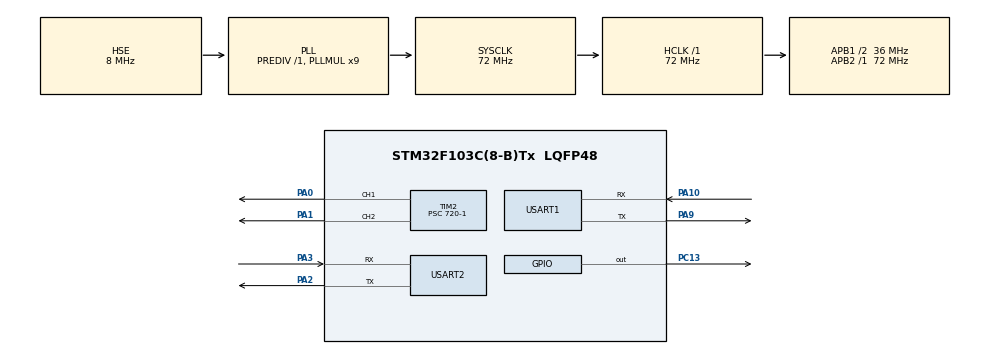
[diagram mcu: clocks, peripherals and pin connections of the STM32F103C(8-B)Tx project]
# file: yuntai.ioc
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Mcu.Family=STM32F1
Mcu.Name=STM32F103C(8-B)Tx
Mcu.Package=LQFP48
NVIC.PriorityGroup=NVIC_PRIORITYGROUP_4
NVIC.TIM4_IRQn=true\:0\:0\:false\:false\:true\:true\:true\:true
NVIC.USART1_IRQn=true\:1\:0\:true\:false\:true\:true\:true\:true
NVIC.USART2_IRQn=true\:0\:0\:false\:false\:true\:true\:true\:true
PA0-WKUP.Signal=S_TIM2_CH1_ETR
PA1.Signal=S_TIM2_CH2
PA10.Mode=Asynchronous
PA10.Signal=USART1_RX
PA13.Mode=Serial_Wire
PA13.Signal=SYS_JTMS-SWDIO
PA14.Mode=Serial_Wire
PA14.Signal=SYS_JTCK-SWCLK
PA2.Mode=Asynchronous
PA2.Signal=USART2_TX
PA3.Mode=Asynchronous
PA3.Signal=USART2_RX
PA9.Mode=Asynchronous
PA9.Signal=USART1_TX
PC13-TAMPER-RTC.Signal=GPIO_Output
PD0-OSC_IN.Mode=HSE-External-Oscillator
PD0-OSC_IN.Signal=RCC_OSC_IN
PD1-OSC_OUT.Mode=HSE-External-Oscillator
PD1-OSC_OUT.Signal=RCC_OSC_OUT
ProjectManager.HeapSize=0x200
ProjectManager.StackSize=0x400
ProjectManager.TargetToolchain=STM32CubeIDE
RCC.AHBFreq_Value=72000000
RCC.APB1CLKDivider=RCC_HCLK_DIV2
RCC.APB1Freq_Value=36000000
RCC.APB1TimFreq_Value=72000000
RCC.APB2Freq_Value=72000000
RCC.APB2TimFreq_Value=72000000
RCC.HCLKFreq_Value=72000000
RCC.PLLMUL=RCC_PLL_MUL9
RCC.PLLSourceVirtual=RCC_PLLSOURCE_HSE
RCC.SYSCLKFreq_VALUE=72000000
RCC.SYSCLKSource=RCC_SYSCLKSOURCE_PLLCLK
RCC.USBFreq_Value=72000000
SH.S_TIM2_CH1_ETR.0=TIM2_CH1,PWM Generation1 CH1
SH.S_TIM2_CH2.0=TIM2_CH2,PWM Generation2 CH2
TIM2.AutoReloadPreload=TIM_AUTORELOAD_PRELOAD_ENABLE
TIM2.Channel-PWM\ Generation1\ CH1=TIM_CHANNEL_1
TIM2.Channel-PWM\ Generation2\ CH2=TIM_CHANNEL_2
TIM2.Period=2000-1
TIM2.Prescaler=720-1
TIM4.AutoReloadPreload=TIM_AUTORELOAD_PRELOAD_ENABLE
TIM4.Period=9
TIM4.Prescaler=7199
USART1.VirtualMode=VM_ASYNC
USART2.VirtualMode=VM_ASYNC
VP_TIM2_VS_ClockSourceINT.Mode=Internal
VP_TIM4_VS_ClockSourceINT.Mode=Internal
board=custom

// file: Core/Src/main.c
/* USER CODE BEGIN Header */
/**
  ******************************************************************************
  * @file           : main.c
  * @brief          : Main program body
  ******************************************************************************
  * @attention
  *
  * Copyright (c) 2023 STMicroelectronics.
  * All rights reserved.
  *
  * This software is licensed under terms that can be found in the LICENSE file
  * in the root directory of this software component.
  * If no LICENSE file comes with this software, it is provided AS-IS.
  *
  ******************************************************************************
  */
/* USER CODE END Header */
#include "main.h"
#include "tim.h"
#include "usart.h"
#include "gpio.h"

/* USER CODE BEGIN Includes */
#include "PID.h"
#include "printf.h"

/* USER CODE END Includes */

/* USER CODE BEGIN PV */

extern uint8_t usart_rec;
extern PID_struct pid_X;
extern PID_struct pid_Y;

/* USER CODE END PV */

void SystemClock_Config(void);

int main(void)
{

  /* MCU Configuration--------------------------------------------------------*/

  /* Reset of all peripherals, Initializes the Flash interface and the Systick. */
  HAL_Init();

  /* Configure the system clock */
  SystemClock_Config();

  /* Initialize all configured peripherals */
  MX_GPIO_Init();
  MX_TIM2_Init();
  MX_TIM4_Init();
  MX_USART1_UART_Init();
  MX_USART2_UART_Init();
  /* USER CODE BEGIN 2 */

  HAL_TIM_Base_Start_IT(&htim4);

  HAL_TIM_PWM_Start(&htim2,TIM_CHANNEL_1);
  HAL_TIM_PWM_Start(&htim2,TIM_CHANNEL_2);

  HAL_UART_Receive_IT(&huart2,(uint8_t*)&usart_rec,1);

  PID_Init(&pid_X,80,1,0,0);
  PID_Init(&pid_Y,60,1,0,0);

  __HAL_TIM_SET_COMPARE(&htim2,TIM_CHANNEL_1,160);
  __HAL_TIM_SET_COMPARE(&htim2,TIM_CHANNEL_2,170);

  /* USER CODE END 2 */

  /* Infinite loop */
  for (;;)
  {

    /* USER CODE BEGIN 3 */
      HAL_GPIO_TogglePin(GPIOC,GPIO_PIN_13);
      HAL_Delay(100);

  }
  /* USER CODE END 3 */
}

void SystemClock_Config(void)
{
  RCC_OscInitTypeDef RCC_OscInitStruct = {0};
  RCC_ClkInitTypeDef RCC_ClkInitStruct = {0};

  /** Initializes the RCC Oscillators according to the specified parameters
  * in the RCC_OscInitTypeDef structure.
  */
  RCC_OscInitStruct.OscillatorType = RCC_OSCILLATORTYPE_HSE;
  RCC_OscInitStruct.HSEState = RCC_HSE_ON;
  RCC_OscInitStruct.HSEPredivValue = RCC_HSE_PREDIV_DIV1;
  RCC_OscInitStruct.HSIState = RCC_HSI_ON;
  RCC_OscInitStruct.PLL.PLLState = RCC_PLL_ON;
  RCC_OscInitStruct.PLL.PLLSource = RCC_PLLSOURCE_HSE;
  RCC_OscInitStruct.PLL.PLLMUL = RCC_PLL_MUL9;
  if (HAL_RCC_OscConfig(&RCC_OscInitStruct) != HAL_OK)
  {
    Error_Handler();
  }

  /** Initializes the CPU, AHB and APB buses clocks
  */
  RCC_ClkInitStruct.ClockType = RCC_CLOCKTYPE_HCLK|RCC_CLOCKTYPE_SYSCLK
                              |RCC_CLOCKTYPE_PCLK1|RCC_CLOCKTYPE_PCLK2;
  RCC_ClkInitStruct.SYSCLKSource = RCC_SYSCLKSOURCE_PLLCLK;
  RCC_ClkInitStruct.AHBCLKDivider = RCC_SYSCLK_DIV1;
  RCC_ClkInitStruct.APB1CLKDivider = RCC_HCLK_DIV2;
  RCC_ClkInitStruct.APB2CLKDivider = RCC_HCLK_DIV1;

  if (HAL_RCC_ClockConfig(&RCC_ClkInitStruct, FLASH_LATENCY_2) != HAL_OK)
  {
    Error_Handler();
  }
}

void Error_Handler(void)
{
  __disable_irq();
  while (1)
  {
  }
}
